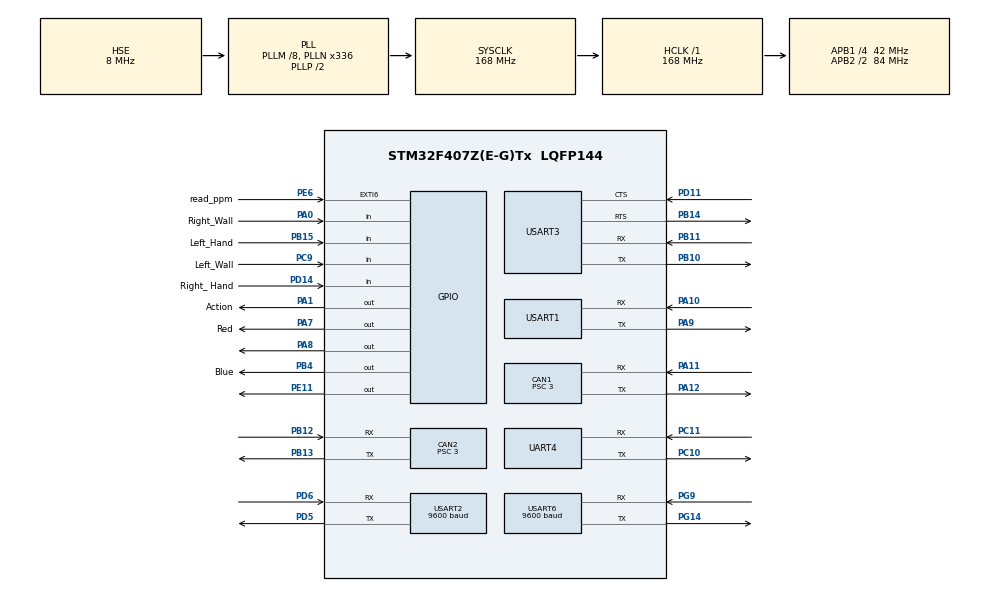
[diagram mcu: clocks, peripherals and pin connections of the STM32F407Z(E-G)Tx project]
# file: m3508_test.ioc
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CAN1.ABOM=ENABLE
CAN1.BS1=CAN_BS1_9TQ
CAN1.BS2=CAN_BS2_4TQ
CAN1.CalculateBaudRate=1000000
CAN1.CalculateTimeBit=1000
CAN1.CalculateTimeQuantum=71.42857142857143
CAN1.NART=ENABLE
CAN1.Prescaler=3
CAN2.ABOM=ENABLE
CAN2.BS1=CAN_BS1_9TQ
CAN2.BS2=CAN_BS2_4TQ
CAN2.CalculateBaudRate=1000000
CAN2.CalculateTimeBit=1000
CAN2.CalculateTimeQuantum=71.42857142857143
CAN2.NART=DISABLE
CAN2.Prescaler=3
Dma.Request0=USART2_RX
Dma.Request1=USART6_RX
Dma.USART2_RX.0.Direction=DMA_PERIPH_TO_MEMORY
Dma.USART2_RX.0.FIFOMode=DMA_FIFOMODE_DISABLE
Dma.USART2_RX.0.Instance=DMA1_Stream5
Dma.USART2_RX.0.MemDataAlignment=DMA_MDATAALIGN_BYTE
Dma.USART2_RX.0.MemInc=DMA_MINC_ENABLE
Dma.USART2_RX.0.Mode=DMA_NORMAL
Dma.USART2_RX.0.PeriphDataAlignment=DMA_PDATAALIGN_BYTE
Dma.USART2_RX.0.PeriphInc=DMA_PINC_DISABLE
Dma.USART2_RX.0.Priority=DMA_PRIORITY_LOW
Dma.USART6_RX.1.Direction=DMA_PERIPH_TO_MEMORY
Dma.USART6_RX.1.FIFOMode=DMA_FIFOMODE_DISABLE
Dma.USART6_RX.1.Instance=DMA2_Stream1
Dma.USART6_RX.1.MemDataAlignment=DMA_MDATAALIGN_BYTE
Dma.USART6_RX.1.MemInc=DMA_MINC_ENABLE
Dma.USART6_RX.1.Mode=DMA_NORMAL
Dma.USART6_RX.1.PeriphDataAlignment=DMA_PDATAALIGN_BYTE
Dma.USART6_RX.1.PeriphInc=DMA_PINC_DISABLE
Dma.USART6_RX.1.Priority=DMA_PRIORITY_LOW
FREERTOS.Tasks01=defaultTask,24,128,StartDefaultTask,Default,NULL,Dynamic,NULL,NULL;motor_control,8,128,MotorControl,Default,NULL,Dynamic,NULL,NULL;robot_state,8,128,RobotState,Default,NULL,Dynamic,NULL,NULL;robot_move,8,128,RobotMove,Default,NULL,Dynamic,NULL,NULL
Mcu.Family=STM32F4
Mcu.Name=STM32F407Z(E-G)Tx
Mcu.Package=LQFP144
NVIC.CAN1_RX0_IRQn=true\:2\:0\:true\:false\:true\:false\:true\:true\:true
NVIC.CAN1_RX1_IRQn=true\:2\:0\:true\:false\:true\:false\:true\:true\:true
NVIC.CAN1_SCE_IRQn=true\:2\:0\:true\:false\:true\:false\:true\:true\:true
NVIC.CAN1_TX_IRQn=true\:2\:0\:true\:false\:true\:false\:true\:true\:true
NVIC.CAN2_RX0_IRQn=true\:5\:0\:true\:false\:true\:true\:true\:true\:true
NVIC.CAN2_RX1_IRQn=true\:5\:0\:true\:false\:true\:true\:true\:true\:true
NVIC.CAN2_SCE_IRQn=true\:5\:0\:true\:false\:true\:true\:true\:true\:true
NVIC.CAN2_TX_IRQn=true\:5\:0\:true\:false\:true\:true\:true\:true\:true
NVIC.DMA1_Stream5_IRQn=true\:5\:0\:false\:false\:true\:true\:false\:true\:true
NVIC.DMA2_Stream1_IRQn=true\:5\:0\:false\:false\:true\:true\:false\:true\:true
NVIC.EXTI9_5_IRQn=true\:2\:0\:true\:false\:true\:false\:true\:true\:true
NVIC.PriorityGroup=NVIC_PRIORITYGROUP_4
NVIC.TIM2_IRQn=true\:5\:0\:false\:false\:true\:true\:true\:true\:true
NVIC.TIM3_IRQn=true\:15\:0\:false\:false\:true\:false\:false\:true\:true
NVIC.TimeBase=TIM3_IRQn
NVIC.TimeBaseIP=TIM3
NVIC.UART4_IRQn=true\:5\:0\:false\:false\:true\:true\:true\:true\:true
NVIC.USART1_IRQn=true\:5\:0\:false\:false\:true\:true\:true\:true\:true
NVIC.USART2_IRQn=true\:5\:0\:false\:false\:true\:true\:true\:true\:true
NVIC.USART3_IRQn=true\:5\:0\:false\:false\:true\:true\:true\:true\:true
NVIC.USART6_IRQn=true\:5\:0\:false\:false\:true\:true\:true\:true\:true
PA0-WKUP.GPIO_Label=Right_Wall
PA0-WKUP.GPIO_PuPd=GPIO_PULLUP
PA0-WKUP.Signal=GPIO_Input
PA1.GPIO_Label=Action
PA1.GPIO_PuPd=GPIO_PULLUP
PA1.GPIO_Speed=GPIO_SPEED_FREQ_MEDIUM
PA1.PinState=GPIO_PIN_SET
PA1.Signal=GPIO_Output
PA10.Mode=Asynchronous
PA10.Signal=USART1_RX
PA11.Mode=CAN_Activate
PA11.Signal=CAN1_RX
PA12.Mode=CAN_Activate
PA12.Signal=CAN1_TX
PA13.Mode=Serial_Wire
PA13.Signal=SYS_JTMS-SWDIO
PA14.Mode=Serial_Wire
PA14.Signal=SYS_JTCK-SWCLK
PA7.GPIO_Label=Red
PA7.GPIO_PuPd=GPIO_PULLUP
PA7.GPIO_Speed=GPIO_SPEED_FREQ_MEDIUM
PA7.PinState=GPIO_PIN_SET
PA7.Signal=GPIO_Output
PA8.GPIO_PuPd=GPIO_PULLUP
PA8.GPIO_Speed=GPIO_SPEED_FREQ_MEDIUM
PA8.PinState=GPIO_PIN_SET
PA8.Signal=GPIO_Output
PA9.Mode=Asynchronous
PA9.Signal=USART1_TX
PB10.Mode=Asynchronous
PB10.Signal=USART3_TX
PB11.Mode=Asynchronous
PB11.Signal=USART3_RX
PB12.Mode=CAN_Activate
PB12.Signal=CAN2_RX
PB13.Mode=CAN_Activate
PB13.Signal=CAN2_TX
PB14.Mode=CTS_RTS
PB14.Signal=USART3_RTS
PB15.GPIO_Label=Left_Hand
PB15.GPIO_PuPd=GPIO_PULLUP
PB15.Signal=GPIO_Input
PB4.GPIO_Label=Blue
PB4.GPIO_PuPd=GPIO_PULLUP
PB4.GPIO_Speed=GPIO_SPEED_FREQ_MEDIUM
PB4.PinState=GPIO_PIN_SET
PB4.Signal=GPIO_Output
PC10.Mode=Asynchronous
PC10.Signal=UART4_TX
PC11.Mode=Asynchronous
PC11.Signal=UART4_RX
PC14-OSC32_IN.Mode=LSE-External-Oscillator
PC14-OSC32_IN.Signal=RCC_OSC32_IN
PC15-OSC32_OUT.Mode=LSE-External-Oscillator
PC15-OSC32_OUT.Signal=RCC_OSC32_OUT
PC9.GPIO_Label=Left_Wall
PC9.GPIO_PuPd=GPIO_PULLUP
PC9.Signal=GPIO_Input
PD11.Mode=CTS_RTS
PD11.Signal=USART3_CTS
PD14.GPIO_Label=Right_ Hand
PD14.GPIO_PuPd=GPIO_PULLUP
PD14.Signal=GPIO_Input
PD5.Mode=Asynchronous
PD5.Signal=USART2_TX
PD6.Mode=Asynchronous
PD6.Signal=USART2_RX
PE11.GPIO_PuPd=GPIO_PULLUP
PE11.GPIO_Speed=GPIO_SPEED_FREQ_MEDIUM
PE11.PinState=GPIO_PIN_SET
PE11.Signal=GPIO_Output
PE6.GPIO_Label=read_ppm
PE6.GPIO_ModeDefaultEXTI=GPIO_MODE_IT_RISING
PE6.GPIO_PuPd=GPIO_PULLDOWN
PE6.Signal=GPXTI6
PG14.Mode=Asynchronous
PG14.Signal=USART6_TX
PG9.Mode=Asynchronous
PG9.Signal=USART6_RX
PH0-OSC_IN.Mode=HSE-External-Oscillator
PH0-OSC_IN.Signal=RCC_OSC_IN
PH1-OSC_OUT.Mode=HSE-External-Oscillator
PH1-OSC_OUT.Signal=RCC_OSC_OUT
ProjectManager.HeapSize=0x200
ProjectManager.StackSize=0x400
ProjectManager.TargetToolchain=MDK-ARM V5.32
RCC.48MHZClocksFreq_Value=84000000
RCC.AHBFreq_Value=168000000
RCC.APB1CLKDivider=RCC_HCLK_DIV4
RCC.APB1Freq_Value=42000000
RCC.APB1TimFreq_Value=84000000
RCC.APB2CLKDivider=RCC_HCLK_DIV2
RCC.APB2Freq_Value=84000000
RCC.APB2TimFreq_Value=168000000
RCC.CortexFreq_Value=168000000
RCC.HCLKFreq_Value=168000000
RCC.HSE_VALUE=8000000
RCC.HSI_VALUE=16000000
RCC.PLLM=8
RCC.PLLN=336
RCC.PLLSourceVirtual=RCC_PLLSOURCE_HSE
RCC.SYSCLKFreq_VALUE=168000000
RCC.SYSCLKSource=RCC_SYSCLKSOURCE_PLLCLK
RCC.VCOOutputFreq_Value=336000000
TIM2.AutoReloadPreload=TIM_AUTORELOAD_PRELOAD_ENABLE
TIM2.Period=10000
TIM2.Prescaler=83
UART4.VirtualMode=Asynchronous
USART1.VirtualMode=VM_ASYNC
USART2.BaudRate=9600
USART2.VirtualMode=VM_ASYNC
USART3.VirtualMode=VM_ASYNC
USART6.BaudRate=9600
USART6.VirtualMode=VM_ASYNC
VP_FREERTOS_VS_CMSIS_V2.Mode=CMSIS_V2
VP_SYS_VS_tim3.Mode=TIM3
VP_TIM2_VS_ClockSourceINT.Mode=Internal
board=custom

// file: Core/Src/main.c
/* USER CODE BEGIN Header */
/**
  ******************************************************************************
  * @file           : main.c
  * @brief          : Main program body
  ******************************************************************************
  * @attention
  *
  * Copyright (c) 2024 STMicroelectronics.
  * All rights reserved.
  *
  * This software is licensed under terms that can be found in the LICENSE file
  * in the root directory of this software component.
  * If no LICENSE file comes with this software, it is provided AS-IS.
  *
  ******************************************************************************
  */
/* USER CODE END Header */
#include "main.h"
#include "cmsis_os.h"
#include "can.h"
#include "dma.h"
#include "tim.h"
#include "usart.h"
#include "gpio.h"

/* USER CODE BEGIN Includes */
#include <string.h>
#include "motor.h"
#include "pid.h"
#include "pid_adjust.h"
#include "driver_usart.h"
#include "ring_buffer.h"
#include "hardware.h"
#include "calculation.h"
#include "MoveBase.h"
#include "FSM.h"

/* USER CODE END Includes */

/* USER CODE BEGIN PV */
ring_buffer test_buffer;
float Set_TARGET_POS =0.0f;
float Set_TARGET_RPM =5.f;
float Set_target_current=0.0f;

uint8_t RxBuffer_for4[1];//串口接收缓冲
uint8_t DataBuff_for4[200];
//66666666666666

/* USER CODE END PV */

void SystemClock_Config(void);
void MX_FREERTOS_Init(void);

int main(void)
{

  /* MCU Configuration--------------------------------------------------------*/

  /* Reset of all peripherals, Initializes the Flash interface and the Systick. */
  HAL_Init();

  /* Configure the system clock */
  SystemClock_Config();

  /* Initialize all configured peripherals */
  MX_GPIO_Init();
  MX_DMA_Init();
  MX_CAN1_Init();
  MX_USART1_UART_Init();
  MX_CAN2_Init();
  MX_TIM2_Init();
  MX_USART3_UART_Init();
  MX_UART4_Init();
  MX_USART2_UART_Init();
  MX_USART6_UART_Init();
  /* USER CODE BEGIN 2 */
  //HAL_CAN_Start(&hcan1);
  //HAL_CAN_Start(&hcan2);

  HAL_TIM_Base_Start_IT(&htim2);
  EnableDebugIRQ();
  Adjust_Init();
  ring_buffer_init(&test_buffer);
  Move_Init();

  m3508_Init();
  Kalmanfiter_Init(&Kalman_LaserX);
  //Set_target_current=0.0f;
  /* USER CODE END 2 */

  /* Init scheduler */
  osKernelInitialize();

  /* Call init function for freertos objects (in freertos.c) */
  MX_FREERTOS_Init();

  /* Start scheduler */
  osKernelStart();

  /* We should never get here as control is now taken by the scheduler */
  /* Infinite loop */
  while (1)
  {

  }
}

void SystemClock_Config(void)
{
  RCC_OscInitTypeDef RCC_OscInitStruct = {0};
  RCC_ClkInitTypeDef RCC_ClkInitStruct = {0};

  /** Configure the main internal regulator output voltage
  */
  __HAL_RCC_PWR_CLK_ENABLE();
  __HAL_PWR_VOLTAGESCALING_CONFIG(PWR_REGULATOR_VOLTAGE_SCALE1);

  /** Initializes the RCC Oscillators according to the specified parameters
  * in the RCC_OscInitTypeDef structure.
  */
  RCC_OscInitStruct.OscillatorType = RCC_OSCILLATORTYPE_HSE;
  RCC_OscInitStruct.HSEState = RCC_HSE_ON;
  RCC_OscInitStruct.PLL.PLLState = RCC_PLL_ON;
  RCC_OscInitStruct.PLL.PLLSource = RCC_PLLSOURCE_HSE;
  RCC_OscInitStruct.PLL.PLLM = 8;
  RCC_OscInitStruct.PLL.PLLN = 336;
  RCC_OscInitStruct.PLL.PLLP = RCC_PLLP_DIV2;
  RCC_OscInitStruct.PLL.PLLQ = 4;
  if (HAL_RCC_OscConfig(&RCC_OscInitStruct) != HAL_OK)
  {
    Error_Handler();
  }

  /** Initializes the CPU, AHB and APB buses clocks
  */
  RCC_ClkInitStruct.ClockType = RCC_CLOCKTYPE_HCLK|RCC_CLOCKTYPE_SYSCLK
                              |RCC_CLOCKTYPE_PCLK1|RCC_CLOCKTYPE_PCLK2;
  RCC_ClkInitStruct.SYSCLKSource = RCC_SYSCLKSOURCE_PLLCLK;
  RCC_ClkInitStruct.AHBCLKDivider = RCC_SYSCLK_DIV1;
  RCC_ClkInitStruct.APB1CLKDivider = RCC_HCLK_DIV4;
  RCC_ClkInitStruct.APB2CLKDivider = RCC_HCLK_DIV2;

  if (HAL_RCC_ClockConfig(&RCC_ClkInitStruct, FLASH_LATENCY_5) != HAL_OK)
  {
    Error_Handler();
  }
}

void HAL_TIM_PeriodElapsedCallback(TIM_HandleTypeDef *htim)
{
  if (htim->Instance == TIM3) {
    HAL_IncTick();
  }
  /* USER CODE BEGIN Callback 1 */
	else if (htim->Instance == TIM2)  // �?查是否是TIM2定时器中�?
  {
    LAST_TIME_ISR_CNT = TIME_ISR_CNT;
    TIME_ISR_CNT++;
    Microsecond_Cnt++;
    if (Microsecond_Cnt >= 100)
    {
      Microsecond_Cnt = 0;
      Time_Sys[Second]++;
      if (Time_Sys[Second] >= 60)
      {
        Time_Sys[Second] = 0;
        Time_Sys[Minute]++;
        if (Time_Sys[Minute] >= 60)
        {
          Time_Sys[Minute] = 0;
          Time_Sys[Hour]++;
        }
      }
    }
    Time_Sys[MicroSecond] = Microsecond_Cnt;
  }
  /* USER CODE END Callback 1 */
}

void Error_Handler(void)
{
  __disable_irq();
  while (1)
  {
  }
}

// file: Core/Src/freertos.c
/* USER CODE BEGIN Header */
/**
  ******************************************************************************
  * File Name          : freertos.c
  * Description        : Code for freertos applications
  ******************************************************************************
  * @attention
  *
  * Copyright (c) 2024 STMicroelectronics.
  * All rights reserved.
  *
  * This software is licensed under terms that can be found in the LICENSE file
  * in the root directory of this software component.
  * If no LICENSE file comes with this software, it is provided AS-IS.
  *
  ******************************************************************************
  */
/* USER CODE END Header */

#include "FreeRTOS.h"
#include "task.h"
#include "main.h"
#include "cmsis_os.h"

/* USER CODE BEGIN Includes */
#include "motor.h"
#include "driver_usart.h"
#include "hardware.h"
#include "calculation.h"
#include "hardware.h"
#include "FSM.h"
#include "MoveBase.h"
#include "communicate.h"

/* USER CODE END Includes */

/* USER CODE BEGIN PTD */
 int test=0;
 int c=0;
 int d=0;

/* USER CODE END PTD */

/* USER CODE BEGIN Variables */
static uint8_t g_printf=1;
extern uint16_t PPM_buf[10];
unsigned char Laser_Flag=0;
/* USER CODE END Variables */
/* Definitions for defaultTask */
osThreadId_t defaultTaskHandle;
const osThreadAttr_t defaultTask_attributes = {
  .name = "defaultTask",
  .stack_size = 128 * 4,
  .priority = (osPriority_t) osPriorityNormal,
};
/* Definitions for motor_control */
osThreadId_t motor_controlHandle;
const osThreadAttr_t motor_control_attributes = {
  .name = "motor_control",
  .stack_size = 128 * 4,
  .priority = (osPriority_t) osPriorityLow,
};
/* Definitions for robot_state */
osThreadId_t robot_stateHandle;
const osThreadAttr_t robot_state_attributes = {
  .name = "robot_state",
  .stack_size = 128 * 4,
  .priority = (osPriority_t) osPriorityLow,
};
/* Definitions for robot_move */
osThreadId_t robot_moveHandle;
const osThreadAttr_t robot_move_attributes = {
  .name = "robot_move",
  .stack_size = 128 * 4,
  .priority = (osPriority_t) osPriorityLow,
};

void StartDefaultTask(void *argument);
void MotorControl(void *argument);
void RobotState(void *argument);
void RobotMove(void *argument);

void MX_FREERTOS_Init(void); /* (MISRA C 2004 rule 8.1) */

void MX_FREERTOS_Init(void) {

  /* Create the thread(s) */
  /* creation of defaultTask */
  defaultTaskHandle = osThreadNew(StartDefaultTask, NULL, &defaultTask_attributes);

  /* creation of motor_control */
  motor_controlHandle = osThreadNew(MotorControl, NULL, &motor_control_attributes);

  /* creation of robot_state */
  robot_stateHandle = osThreadNew(RobotState, NULL, &robot_state_attributes);

  /* creation of robot_move */
  robot_moveHandle = osThreadNew(RobotMove, NULL, &robot_move_attributes);

}

void StartDefaultTask(void *argument)
{
  /* USER CODE BEGIN StartDefaultTask */
	float move_time_counter=0;
  /* Infinite loop */
  for(;;)
  {
//	  if(SWA<1500)
//	{
//		MOTOR_REAL_INFO[0].unitMode = SPEED_CONTROL_MODE;
//		MOTOR_REAL_INFO[1].unitMode = SPEED_CONTROL_MODE;
//		MOTOR_REAL_INFO[2].unitMode = SPEED_CONTROL_MODE;
//		remote_control();
//	}

//		a=1;
//		MOTOR_REAL_INFO[0].unitMode = SPEED_CONTROL_MODE;
//		MOTOR_REAL_INFO[1].unitMode = SPEED_CONTROL_MODE;
//		MOTOR_REAL_INFO[2].unitMode = SPEED_CONTROL_MODE;
//		a=2;
//		move_time_counter += 0.01f;
//		PathPlan(move_time_counter,3,7,X0,Y0,Yaw0);
//		world_to_robot(ROBOT_REAL_POS_DATA);
//		Kinematic_Analysis(Robot_Chassis.Robot_V[0],Robot_Chassis.Robot_V[1]);
//
//		a=3;

//	 Usart4_SendData(1.0,2.0,3.0,4);
//	printf("%f,%hd\n",MOTOR_REAL_INFO[2].TARGET_RPM,MOTOR_REAL_INFO[2].RPM);
//	c=Left_Hand;
//	d=HAL_GPIO_ReadPin(GPIOD,GPIO_PIN_14);
//	Laser_FSM();
	 Activate_FSM();
	vTaskDelay(10);
  }

  /* USER CODE END StartDefaultTask */
}

void MotorControl(void *argument)
{
  /* USER CODE BEGIN MotorControl */
  /* Infinite loop */
  for(;;)
  {
//	  moving_point_track(1.0f, 1.0f, 0.0f,1.0f);

	remote_FSM();
	MOVE_FSM();
	Photogate_FSM();
    vTaskDelay(10);

  }
  /* USER CODE END MotorControl */
}

void RobotState(void *argument)
{
  /* USER CODE BEGIN RobotState */
  /* Infinite loop */
  for(;;)
  {
	  test++;

//	  YawAdjust(45);
//  	printf("x: %f y: %f \r\n",ROBOT_REAL_POS_INFO.Position[x],ROBOT_REAL_POS_INFO.Position[y]);
//	  remote_control();
//	  move_test();
//	  VelCrl(&MOTOR_REAL_INFO[1],200);
//	  remote_FSM();
//	  if(Laser_calibration(-2.63f, -3.06f,0,0.8f,1))
//		{
////			Usart4_SendData(0,0,0,Inspection);
//			Laser_Flag=1;
//		}
	  // Retry_FSM();
	  // move_Laser();

    MoveCtrl();
//	ZONE2_FSM();
	 vTaskDelay(1);
  }
  /* USER CODE END RobotState */
}

void RobotMove(void *argument)
{
  /* USER CODE BEGIN RobotMove */
//	static portTickType move_xLastWakeTime;
//	const portTickType move_xFrequency = pdMS_TO_TICKS(10); // 延时10ms
  /* Infinite loop */
  for(;;)
  {
	  MotorCtrl();
	  vTaskDelay(1);
	 //vTaskDelayUntil(&move_xLastWakeTime, move_xFrequency); // 绝对延时
  }
  /* USER CODE END RobotMove */
}
